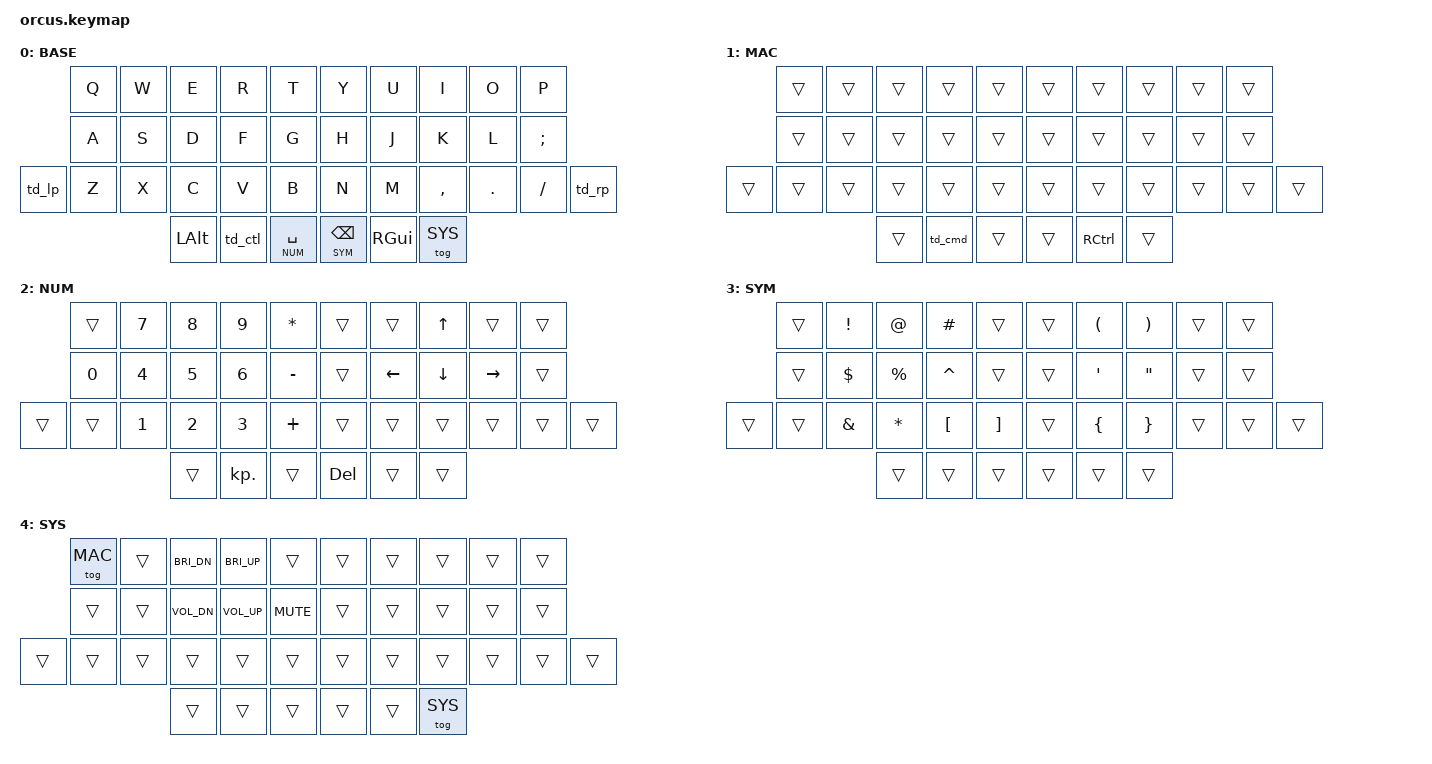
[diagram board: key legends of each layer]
#include <behaviors.dtsi>
#include <dt-bindings/zmk/keys.h>
#include <dt-bindings/zmk/bt.h>
#include <dt-bindings/zmk/outputs.h>

#define DEFAULT 0
#define MAC     1   // must sit directly above DEFAULT so NUM/SYM/SYS override it
#define NUM     2
#define SYM     3
#define SYS     4


/ {     
        behaviors {
                td_lp: tap_dance_left_pinky {
                        compatible = "zmk,behavior-tap-dance";
                        #binding-cells = <0>;
                        tapping-term-ms = <200>;
                        bindings = <&mt LSHIFT TAB>, <&kp ESC>;
                };

                td_rp: tap_dance_right_pinky {
                        compatible = "zmk,behavior-tap-dance";
                        #binding-cells = <0>;
                        tapping-term-ms = <200>;
                        bindings = <&mt RSHIFT ENTER>, <&kp DEL>;
                };

                td_ctl: tap_dance_ctrl_cmd {
                        compatible = "zmk,behavior-tap-dance";
                        #binding-cells = <0>;
                        tapping-term-ms = <200>;
                        bindings = <&kp LCTRL>, <&kp LGUI>;
                };

                td_cmd: tap_dance_cmd_ctrl {
                        compatible = "zmk,behavior-tap-dance";
                        #binding-cells = <0>;
                        tapping-term-ms = <200>;
                        bindings = <&kp LGUI>, <&kp LCTRL>;
                };

                lt_spc: layer_tap_space {
                        compatible = "zmk,behavior-hold-tap";
                        #binding-cells = <2>;
                        flavor = "balanced";
                        tapping-term-ms = <180>;
                        bindings = <&mo>, <&kp>;
                };
        };
           
        keymap {
                compatible = "zmk,keymap";

                default_layer {
// ┏━━━━━━━━━━━━━━━━━━━━━━━━━━━━━━━━━━━━━━━┓
display-name = "BASE"                      ;
// ┗━━━━━━━━━━━━━━━━━━━━━━━━━━━━━━━━━━━━━━━┛
//             ┏━━━━━━━━━━━┳━━━━━━━━━━━┳━━━━━━━━━━━┳━━━━━━━━━━━┳━━━━━━━━━━━┓   ┏━━━━━━━━━━━┳━━━━━━━━━━━┳━━━━━━━━━━━┳━━━━━━━━━━━┳━━━━━━━━━━━┓
//             ┃     Q     ┃     W     ┃     E     ┃     R     ┃     T     ┃   ┃     Y     ┃     U     ┃     I     ┃     O     ┃     P     ┃   
//             ┣━━━━━━━━━━━┣━━━━━━━━━━━┣━━━━━━━━━━━╋━━━━━━━━━━━╋━━━━━━━━━━━┫   ┣━━━━━━━━━━━╋━━━━━━━━━━━╋━━━━━━━━━━━╋━━━━━━━━━━━┻━━━━━━━━━━━┫
//             ┃     A     ┃     S     ┃     D     ┃     F     ┃     G     ┃   ┃     H     ┃     J     ┃     K     ┃     L     ┃     ;     ┃    
// ┏━━━━━━━━━━━┣━━━━━━━━━━━┣━━━━━━━━━━━┣━━━━━━━━━━━╋━━━━━━━━━━━╋━━━━━━━━━━━┫   ┣━━━━━━━━━━━╋━━━━━━━━━━━╋━━━━━━━━━━━╋━━━━━━━━━━━╋━━━━━━━━━━━┫━━━━━━━━━━━┓
// ┃  td_lp    ┃     Z     ┃     X     ┃     C     ┃     V     ┃     B     ┃   ┃     N     ┃     M     ┃     ,     ┃     .     ┃     /     ┃   td_rp   ┃
// ┗━━━━━━━━━━━┻━━━━━━━━━━━┻━━━━━━━━━━━┣━━━━━━━━━━━╋━━━━━━━━━━━╋━━━━━━━━━━━┫   ┣━━━━━━━━━━━╋━━━━━━━━━━━╋━━━━━━━━━━━╋━━━━━━━━━━━┻━━━━━━━━━━━┻━━━━━━━━━━━┛
//                                     ┃    LALT   ┃  CTRL/CMD ┃  SPC/NUM  ┃   ┃  BSPC/SYM ┃    RGUI   ┃  TOG SYS  ┃
//                                     ┗━━━━━━━━━━━┻━━━━━━━━━━━┻━━━━━━━━━━━┛   ┗━━━━━━━━━━━┻━━━━━━━━━━━┻━━━━━━━━━━━┛
 bindings = <
// ╷           ╷           ╷           ╷           ╷           ╷           ╷   ╷           ╷           ╷           ╷           ╷           ╷           ╷

                  &kp Q       &kp W       &kp E       &kp R       &kp T           &kp Y       &kp U       &kp I       &kp O       &kp P       
                  &kp A       &kp S       &kp D       &kp F       &kp G           &kp H       &kp J       &kp K       &kp L       &kp SEMI    
      &td_lp      &kp Z       &kp X       &kp C       &kp V       &kp B           &kp N       &kp M       &kp COMMA   &kp DOT     &kp SLASH   &td_rp
                                          &kp LALT    &td_ctl     &lt_spc NUM SPACE   &lt SYM BSPC &kp RGUI   &tog SYS   
                        >;
                };


                mac {
// ┏━━━━━━━━━━━━━━━━━━━━━━━━━━━━━━━━━━━━━━━┓
display-name = "MAC"                       ;
// ┗━━━━━━━━━━━━━━━━━━━━━━━━━━━━━━━━━━━━━━━┛
// Toggled from SYS (Q). Overrides only the two thumbs; everything else falls through to BASE.
//             ┏━━━━━━━━━━━┳━━━━━━━━━━━┳━━━━━━━━━━━┳━━━━━━━━━━━┳━━━━━━━━━━━┓   ┏━━━━━━━━━━━┳━━━━━━━━━━━┳━━━━━━━━━━━┳━━━━━━━━━━━┳━━━━━━━━━━━┓
//             ┃   trans   ┃   trans   ┃   trans   ┃   trans   ┃   trans   ┃   ┃   trans   ┃   trans   ┃   trans   ┃   trans   ┃   trans   ┃
//             ┣━━━━━━━━━━━┣━━━━━━━━━━━┣━━━━━━━━━━━╋━━━━━━━━━━━╋━━━━━━━━━━━┫   ┣━━━━━━━━━━━╋━━━━━━━━━━━╋━━━━━━━━━━━╋━━━━━━━━━━━┻━━━━━━━━━━━┫
//             ┃   trans   ┃   trans   ┃   trans   ┃   trans   ┃   trans   ┃   ┃   trans   ┃   trans   ┃   trans   ┃   trans   ┃   trans   ┃
// ┏━━━━━━━━━━━┣━━━━━━━━━━━┣━━━━━━━━━━━┣━━━━━━━━━━━╋━━━━━━━━━━━╋━━━━━━━━━━━┫   ┣━━━━━━━━━━━╋━━━━━━━━━━━╋━━━━━━━━━━━╋━━━━━━━━━━━╋━━━━━━━━━━━┫━━━━━━━━━━━┓
// ┃   trans   ┃   trans   ┃   trans   ┃   trans   ┃   trans   ┃   trans   ┃   ┃   trans   ┃   trans   ┃   trans   ┃   trans   ┃   trans   ┃   trans   ┃
// ┗━━━━━━━━━━━┻━━━━━━━━━━━┻━━━━━━━━━━━┣━━━━━━━━━━━╋━━━━━━━━━━━╋━━━━━━━━━━━┫   ┣━━━━━━━━━━━╋━━━━━━━━━━━╋━━━━━━━━━━━╋━━━━━━━━━━━┻━━━━━━━━━━━┻━━━━━━━━━━━┛
//                                     ┃   trans   ┃  CMD/CTRL ┃   trans   ┃   ┃   trans   ┃   RCTRL   ┃   trans   ┃
//                                     ┗━━━━━━━━━━━┻━━━━━━━━━━━┻━━━━━━━━━━━┛   ┗━━━━━━━━━━━┻━━━━━━━━━━━┻━━━━━━━━━━━┛
 bindings = <
// ╷           ╷           ╷           ╷           ╷           ╷           ╷   ╷           ╷           ╷           ╷           ╷           ╷           ╷

                  &trans      &trans      &trans      &trans      &trans          &trans      &trans      &trans      &trans      &trans     
                  &trans      &trans      &trans      &trans      &trans          &trans      &trans      &trans      &trans      &trans  
      &trans      &trans      &trans      &trans      &trans      &trans          &trans      &trans      &trans      &trans      &trans      &trans  
                                          &trans      &td_cmd     &trans          &trans      &kp RCTRL   &trans   
                        >;
                };


                num {
// ┏━━━━━━━━━━━━━━━━━━━━━━━━━━━━━━━━━━━━━━━┓
display-name = "NUM"                      ;
// ┗━━━━━━━━━━━━━━━━━━━━━━━━━━━━━━━━━━━━━━━┛
//             ┏━━━━━━━━━━━┳━━━━━━━━━━━┳━━━━━━━━━━━┳━━━━━━━━━━━┳━━━━━━━━━━━┓   ┏━━━━━━━━━━━┳━━━━━━━━━━━┳━━━━━━━━━━━┳━━━━━━━━━━━┳━━━━━━━━━━━┓
//             ┃   trans   ┃     N7    ┃     N8    ┃     N9    ┃     *     ┃   ┃   trans   ┃   trans   ┃     UP    ┃   trans   ┃   trans   ┃   
//             ┣━━━━━━━━━━━┣━━━━━━━━━━━┣━━━━━━━━━━━╋━━━━━━━━━━━╋━━━━━━━━━━━┫   ┣━━━━━━━━━━━╋━━━━━━━━━━━╋━━━━━━━━━━━╋━━━━━━━━━━━┻━━━━━━━━━━━┫
//             ┃     N0    ┃     N4    ┃     N5    ┃     N6    ┃     -     ┃   ┃   trans   ┃    LEFT   ┃    DOWN   ┃   RIGHT   ┃   trans   ┃    
// ┏━━━━━━━━━━━┣━━━━━━━━━━━┣━━━━━━━━━━━┣━━━━━━━━━━━╋━━━━━━━━━━━╋━━━━━━━━━━━┫   ┣━━━━━━━━━━━╋━━━━━━━━━━━╋━━━━━━━━━━━╋━━━━━━━━━━━╋━━━━━━━━━━━┫━━━━━━━━━━━┓
// ┃   trans   ┃   trans   ┃     N1    ┃     N2    ┃     N3    ┃     +     ┃   ┃   trans   ┃   trans   ┃   trans   ┃   trans   ┃   trans   ┃   trans   ┃
// ┗━━━━━━━━━━━┻━━━━━━━━━━━┻━━━━━━━━━━━┣━━━━━━━━━━━╋━━━━━━━━━━━╋━━━━━━━━━━━┫   ┣━━━━━━━━━━━╋━━━━━━━━━━━╋━━━━━━━━━━━╋━━━━━━━━━━━┻━━━━━━━━━━━┻━━━━━━━━━━━┛
//                                     ┃   trans   ┃   KP_DOT  ┃   trans   ┃   ┃    DEL    ┃   trans   ┃   trans   ┃
//                                     ┗━━━━━━━━━━━┻━━━━━━━━━━━┻━━━━━━━━━━━┛   ┗━━━━━━━━━━━┻━━━━━━━━━━━┻━━━━━━━━━━━┛
 bindings = <
// ╷           ╷           ╷           ╷           ╷           ╷           ╷   ╷           ╷           ╷           ╷           ╷           ╷           ╷

                  &trans      &kp N7      &kp N8      &kp N9      &kp STAR        &trans      &trans      &kp UP      &trans      &trans     
                  &kp N0      &kp N4      &kp N5      &kp N6      &kp MINUS       &trans      &kp LEFT    &kp DOWN    &kp RIGHT   &trans  
      &trans      &trans      &kp N1      &kp N2      &kp N3      &kp PLUS        &trans      &trans      &trans      &trans      &trans      &trans  
                                          &trans      &kp KP_DOT  &trans          &kp DEL     &trans      &trans   
                        >;
                };


                sym {
// ┏━━━━━━━━━━━━━━━━━━━━━━━━━━━━━━━━━━━━━━━┓
display-name = "SYM"                      ;
// ┗━━━━━━━━━━━━━━━━━━━━━━━━━━━━━━━━━━━━━━━┛
//             ┏━━━━━━━━━━━┳━━━━━━━━━━━┳━━━━━━━━━━━┳━━━━━━━━━━━┳━━━━━━━━━━━┓   ┏━━━━━━━━━━━┳━━━━━━━━━━━┳━━━━━━━━━━━┳━━━━━━━━━━━┳━━━━━━━━━━━┓
//             ┃   trans   ┃     !     ┃     @     ┃     #     ┃   trans   ┃   ┃   trans   ┃     (     ┃     )     ┃   trans   ┃   trans   ┃   
//             ┣━━━━━━━━━━━┣━━━━━━━━━━━┣━━━━━━━━━━━╋━━━━━━━━━━━╋━━━━━━━━━━━┫   ┣━━━━━━━━━━━╋━━━━━━━━━━━╋━━━━━━━━━━━╋━━━━━━━━━━━┻━━━━━━━━━━━┫
//             ┃   trans   ┃     $     ┃     %     ┃     ^     ┃   trans   ┃   ┃   trans   ┃     '     ┃     "     ┃   trans   ┃   trans   ┃    
// ┏━━━━━━━━━━━┣━━━━━━━━━━━┣━━━━━━━━━━━┣━━━━━━━━━━━╋━━━━━━━━━━━╋━━━━━━━━━━━┫   ┣━━━━━━━━━━━╋━━━━━━━━━━━╋━━━━━━━━━━━╋━━━━━━━━━━━╋━━━━━━━━━━━┫━━━━━━━━━━━┓
// ┃   trans   ┃   trans   ┃     &     ┃     *     ┃     [     ┃     ]     ┃   ┃   trans   ┃     {     ┃     }     ┃   trans   ┃   trans   ┃   trans   ┃
// ┗━━━━━━━━━━━┻━━━━━━━━━━━┻━━━━━━━━━━━┣━━━━━━━━━━━╋━━━━━━━━━━━╋━━━━━━━━━━━┫   ┣━━━━━━━━━━━╋━━━━━━━━━━━╋━━━━━━━━━━━╋━━━━━━━━━━━┻━━━━━━━━━━━┻━━━━━━━━━━━┛
//                                     ┃   trans   ┃   trans   ┃   trans   ┃   ┃   trans   ┃   trans   ┃   trans   ┃
//                                     ┗━━━━━━━━━━━┻━━━━━━━━━━━┻━━━━━━━━━━━┛   ┗━━━━━━━━━━━┻━━━━━━━━━━━┻━━━━━━━━━━━┛
 bindings = <
// ╷           ╷           ╷           ╷           ╷           ╷           ╷   ╷           ╷           ╷           ╷           ╷           ╷           ╷

                  &trans      &kp EXCL    &kp AT      &kp HASH    &trans          &trans      &kp LPAR    &kp RPAR     &trans      &trans     
                  &trans      &kp DLLR    &kp PRCNT   &kp CARET   &trans          &trans      &kp APOS    &kp DQT      &trans     &trans  
      &trans      &trans      &kp AMPS    &kp STAR    &kp LBKT    &kp RBKT        &trans      &kp LBRC    &kp RBRC     &trans     &trans      &trans  
                                          &trans      &trans      &trans          &trans      &trans      &trans  
                        >;
                };


                sys {
// ┏━━━━━━━━━━━━━━━━━━━━━━━━━━━━━━━━━━━━━━━┓
display-name = "SYS"                      ;
// ┗━━━━━━━━━━━━━━━━━━━━━━━━━━━━━━━━━━━━━━━┛
//             ┏━━━━━━━━━━━┳━━━━━━━━━━━┳━━━━━━━━━━━┳━━━━━━━━━━━┳━━━━━━━━━━━┓   ┏━━━━━━━━━━━┳━━━━━━━━━━━┳━━━━━━━━━━━┳━━━━━━━━━━━┳━━━━━━━━━━━┓
//             ┃  TOG MAC  ┃   trans   ┃   BRI_DN  ┃   BRI_UP  ┃   trans   ┃   ┃   trans   ┃   trans   ┃   trans   ┃   trans   ┃   trans   ┃   
//             ┣━━━━━━━━━━━┣━━━━━━━━━━━┣━━━━━━━━━━━╋━━━━━━━━━━━╋━━━━━━━━━━━┫   ┣━━━━━━━━━━━╋━━━━━━━━━━━╋━━━━━━━━━━━╋━━━━━━━━━━━┻━━━━━━━━━━━┫
//             ┃   trans   ┃   trans   ┃   VOL_DN  ┃   VOL_UP  ┃    MUTE   ┃   ┃   trans   ┃   trans   ┃   trans   ┃   trans   ┃   trans   ┃    
// ┏━━━━━━━━━━━┣━━━━━━━━━━━┣━━━━━━━━━━━┣━━━━━━━━━━━╋━━━━━━━━━━━╋━━━━━━━━━━━┫   ┣━━━━━━━━━━━╋━━━━━━━━━━━╋━━━━━━━━━━━╋━━━━━━━━━━━╋━━━━━━━━━━━┫━━━━━━━━━━━┓
// ┃   trans   ┃   trans   ┃   trans   ┃   trans   ┃   trans   ┃   trans   ┃   ┃   trans   ┃   trans   ┃   trans   ┃   trans   ┃   trans   ┃   trans   ┃
// ┗━━━━━━━━━━━┻━━━━━━━━━━━┻━━━━━━━━━━━┣━━━━━━━━━━━╋━━━━━━━━━━━╋━━━━━━━━━━━┫   ┣━━━━━━━━━━━╋━━━━━━━━━━━╋━━━━━━━━━━━╋━━━━━━━━━━━┻━━━━━━━━━━━┻━━━━━━━━━━━┛
//                                     ┃   trans   ┃   trans   ┃   trans   ┃   ┃   trans   ┃   trans   ┃  TOG SYS  ┃
//                                     ┗━━━━━━━━━━━┻━━━━━━━━━━━┻━━━━━━━━━━━┛   ┗━━━━━━━━━━━┻━━━━━━━━━━━┻━━━━━━━━━━━┛
 bindings = <
// ╷           ╷           ╷           ╷           ╷           ╷           ╷   ╷           ╷           ╷           ╷           ╷           ╷           ╷

                  &tog MAC    &trans      &kp C_BRI_DN &kp C_BRI_UP &trans          &trans      &trans      &trans      &trans      &trans     
                  &trans      &trans      &kp C_VOL_DN &kp C_VOL_UP &kp C_MUTE      &trans      &trans      &trans      &trans      &trans  
      &trans      &trans      &trans      &trans       &trans       &trans          &trans      &trans      &trans      &trans      &trans      &trans  
                                          &trans       &trans       &trans          &trans      &trans      &tog SYS     
                        >;
                };
        };
};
